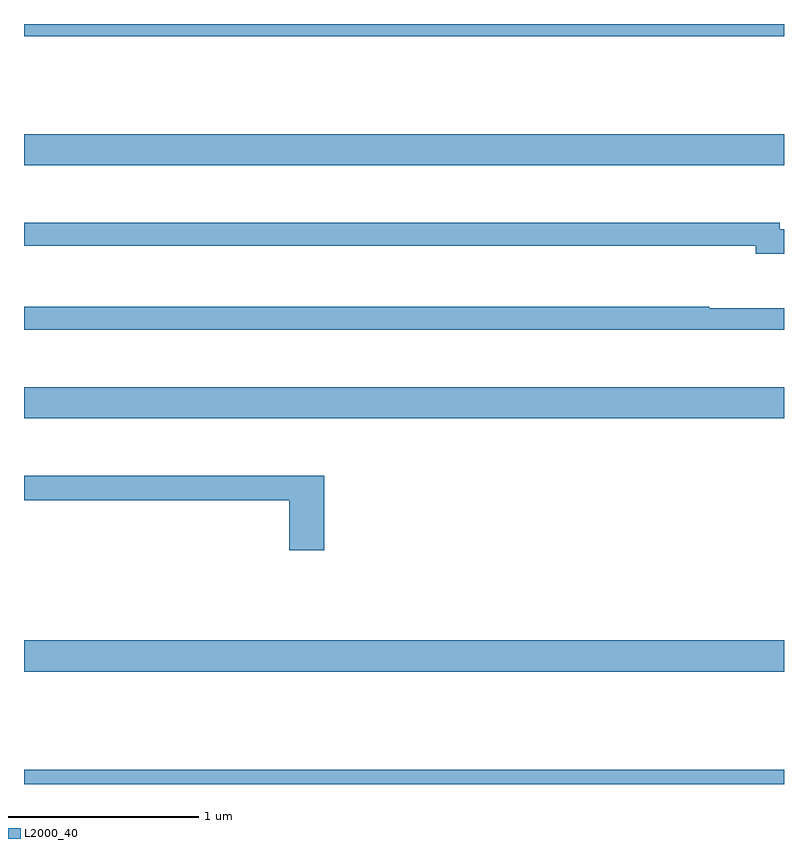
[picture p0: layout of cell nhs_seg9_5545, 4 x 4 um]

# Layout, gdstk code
import gdstk
lib = gdstk.Library(unit=1e-6, precision=1e-09)
def R(c, l, rs):  # rectangles x0, y0, x1, y1
    for r in rs: c.add(gdstk.rectangle(r[:2], r[2:], *l))
def A(c, l, x, y, w, h, nx, ny, dx, dy):  # array of equal rectangles
    R(c, l, [(x+i*dx, y+j*dy, x+i*dx+w, y+j*dy+h) for i in range(nx) for j in range(ny)])
def P(c, l, *ps):  # polygons
    for p in ps: c.add(gdstk.Polygon(p, *l))
L2000_40 = (2000, 40)

nhs_seg9_5545 = lib.new_cell('nhs_seg9_5545')
A(nhs_seg9_5545, L2000_40, 433, 1191.092, 4, 0.164, 1, 3, 0, 1.332)
R(nhs_seg9_5545, L2000_40, [(433,1190.5,437,1190.576), (433,1194.436,437,1194.5)])
P(nhs_seg9_5545, L2000_40, [(437,1193.421),(436.978,1193.421),(436.978,1193.455),(433,1193.455),(433,1193.334),(436.85,1193.334),(436.85,1193.291),(437,1193.291)],
  [(437,1193.003),(436.606,1193.003),(436.606,1193.011),(433,1193.011),(433,1192.89),(437,1192.89)],
  [(434.579,1192.123),(433,1192.123),(433,1191.994),(434.396,1191.994),(434.396,1191.729),(434.579,1191.729)])

lib.write_gds('nhs_seg9_5545.gds')
